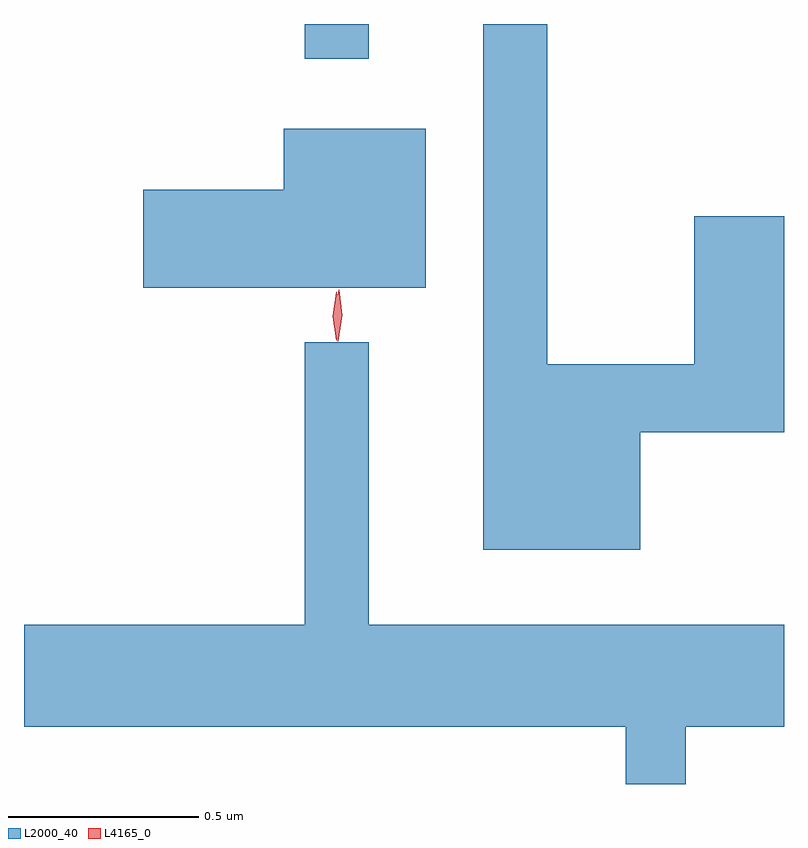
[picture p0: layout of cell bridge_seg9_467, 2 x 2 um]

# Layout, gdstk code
import gdstk
lib = gdstk.Library(unit=1e-6, precision=1e-09)
def R(c, l, rs):  # rectangles x0, y0, x1, y1
    for r in rs: c.add(gdstk.rectangle(r[:2], r[2:], *l))
def P(c, l, *ps):  # polygons
    for p in ps: c.add(gdstk.Polygon(p, *l))
L2000_40 = (2000, 40)
L4165_0 = (4165, 0)

bridge_seg9_467 = lib.new_cell('bridge_seg9_467')
R(bridge_seg9_467, L2000_40, [(377.041,2040.193,377.209,2040.285)])
P(bridge_seg9_467, L2000_40, [(377.924,2039.211),(378.302,2039.211),(378.302,2039.779),(378.066,2039.779),(378.066,2039.389),(377.679,2039.389),(377.679,2040.285),(377.511,2040.285),(377.511,2038.901),(377.924,2038.901)],
  [(377.359,2040.009),(376.986,2040.009),(376.986,2039.849),(376.616,2039.849),(376.616,2039.591),(377.359,2039.591)],
  [(378.044,2038.436),(378.302,2038.436),(378.302,2038.704),(377.209,2038.704),(377.209,2039.448),(377.041,2039.448),(377.041,2038.704),(376.302,2038.704),(376.302,2038.436),(377.886,2038.436),(377.886,2038.285),(378.044,2038.285)])
P(bridge_seg9_467, L4165_0, [(377.128,2039.45),(377.128,2039.45),(377.12,2039.518),(377.13,2039.586),(377.13,2039.586),(377.131,2039.586),(377.139,2039.518),(377.129,2039.45)],
  [(377.124,2039.453),(377.115,2039.516),(377.124,2039.579),(377.124,2039.58),(377.125,2039.579),(377.135,2039.516),(377.125,2039.453),(377.125,2039.453)])

lib.write_gds('bridge_seg9_467.gds')
